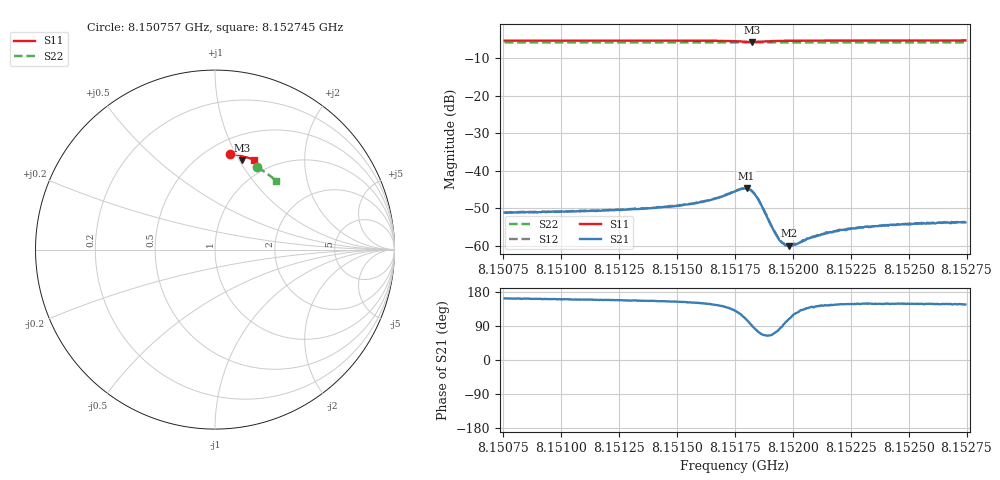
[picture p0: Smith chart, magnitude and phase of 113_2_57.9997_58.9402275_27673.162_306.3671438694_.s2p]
#  HZ  S  RI  R  50.00
! Rohde & Schwarz Vector Network Analyzer
! Rohde-Schwarz,ZNB20-2Port,1311601062101988,3.16
! Created: UTC 3/21/2024, 12:55:18 AM
! freq[Hz]  re:S11  im:S11  re:S21  im:S21  re:S12  im:S12  re:S22  im:S22
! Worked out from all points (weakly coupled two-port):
!   401 points, 8.150757 GHz to 8.152745 GHz, reference 50 ohm
!   highest |S21| = -44.71 dB at 8.151801 GHz (marker M1); lowest = -60.0 dB at 8.151985 GHz (marker M2)
!   lowest |S11| = -5.7 dB at 8.151826 GHz (marker M3), VSWR 3.17, Z = 37.6 + j51.4 ohm
!   |S11| at or under -10 dB: nowhere
!   |S22| runs from -5.8 to -5.8 dB; largest |S21 - S12| = 0.00013
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8.1507573e9  0.0859 0.5354  -0.00264 0.000827  -0.00267 0.00088  0.2352 0.4578
8.1510903e9  0.1096 0.5316  -0.00272 0.00101  -0.00271 0.00107  0.254 0.4473
8.1514232e9  0.1337 0.5261  -0.00294 0.00137  -0.00297 0.00139  0.2721 0.4359
8.1515673e9  0.1453 0.5226  -0.00319 0.00175  -0.00317 0.00175  0.2798 0.4306
8.151617e9  0.1495 0.5207  -0.00334 0.00198  -0.00333 0.00206  0.2827 0.4289
8.1516816e9  0.1555 0.5171  -0.00354 0.00259  -0.00352 0.00262  0.2861 0.4264
8.1517512e9  0.1612 0.5087  -0.0034 0.00406  -0.00342 0.00416  0.2896 0.4235
8.151781e9  0.1605 0.5027  -0.00266 0.00508  -0.00264 0.00518  0.291 0.4223
8.1518009e9  0.1574 0.4991  -0.00163 0.00558  -0.00156 0.00562  0.2918 0.4214
8.1518257e9  0.1507 0.4982  3.9e-05 0.00529  0.000125 0.00531  0.2927 0.4206
8.1518406e9  0.1473 0.5005  0.000793 0.00457  0.00087 0.00461  0.2935 0.4201
8.1518555e9  0.1457 0.504  0.00118 0.00377  0.00125 0.00375  0.2942 0.42
8.1519102e9  0.1496 0.5135  0.000713 0.00164  0.000732 0.00165  0.2971 0.4182
8.15194e9  0.1535 0.5153  0.000216 0.0012  0.000255 0.00121  0.2987 0.417
8.1519648e9  0.1566 0.5162  -0.000109 0.00103  -0.000102 0.00104  0.3003 0.4161
8.1519847e9  0.1588 0.5166  -0.000319 0.000949  -0.000317 0.000965  0.3012 0.4154
8.1520096e9  0.1615 0.5166  -0.000551 0.000872  -0.000514 0.000921  0.3027 0.4143
8.1520841e9  0.1685 0.5158  -0.00101 0.000824  -0.000996 0.000861  0.3065 0.4115
8.1521537e9  0.1742 0.5146  -0.00122 0.000869  -0.0012 0.000913  0.3099 0.4086
8.1522083e9  0.1786 0.5134  -0.00136 0.000869  -0.00137 0.000901  0.3127 0.4066
8.1524171e9  0.1935 0.5088  -0.00161 0.00101  -0.0016 0.001  0.323 0.398
8.152745e9  0.2157 0.5005  -0.0017 0.00113  -0.00175 0.00113  0.3389 0.3841
